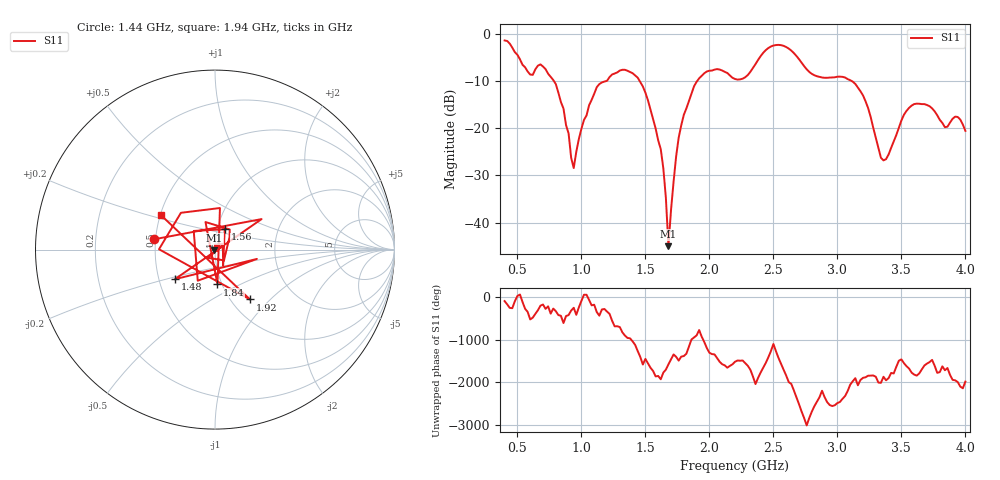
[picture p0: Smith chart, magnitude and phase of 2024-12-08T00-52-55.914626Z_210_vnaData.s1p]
!Created with skrf (http://scikit-rf.org).
# Hz S RI R 50.0
!freq ReS11 ImS11
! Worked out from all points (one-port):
!   181 points, 400 MHz to 4 GHz, reference 50 ohm
!   lowest |S11| = -45.0 dB at 1.68 GHz (marker M1), VSWR 1.01, Z = 49.6 - j0.359 ohm
!   |S11| at or under -10 dB: 786.1 MHz to 1.189 GHz (403.1 MHz wide, 40.8 % of centre); 1.456 GHz to 1.903 GHz (446.8 MHz wide, 26.6 % of centre); 3.114 GHz to end of sweep
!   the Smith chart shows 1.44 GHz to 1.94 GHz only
!   S11 on the Smith chart (normalised r, x): 1.44 GHz: 0.49, +0.06; 1.48 GHz: 0.60, -0.22; 1.56 GHz: 1.08, +0.25; 1.84 GHz: 0.95, -0.38; 1.92 GHz: 1.22, -0.77; 1.94 GHz: 0.50, +0.22
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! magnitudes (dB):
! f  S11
! 400 MHz  -1.3
! 600 MHz  -8.6
! 720 MHz  -7.4
! 860 MHz  -15.8
! 940 MHz  -28.4
! 1 GHz  -20.1
! 1.12 GHz  -11.3
! 1.3 GHz  -7.7
! 1.44 GHz  -9.2
! 1.48 GHz  -11.1
! 1.56 GHz  -18.0
! 1.64 GHz  -28.5
! 1.68 GHz  -45.0
! 1.76 GHz  -22.0
! 1.84 GHz  -14.2
! 1.92 GHz  -9.4
! 1.94 GHz  -8.9
! 2.2 GHz  -9.5
! 2.48 GHz  -2.6
! 2.66 GHz  -4.0
! 2.82 GHz  -8.7
! 3.1 GHz  -9.8
! 3.22 GHz  -14.3
! 3.36 GHz  -26.8
! 3.56 GHz  -15.6
! 3.84 GHz  -19.8
! 3.94 GHz  -17.6
! 4 GHz  -20.5
